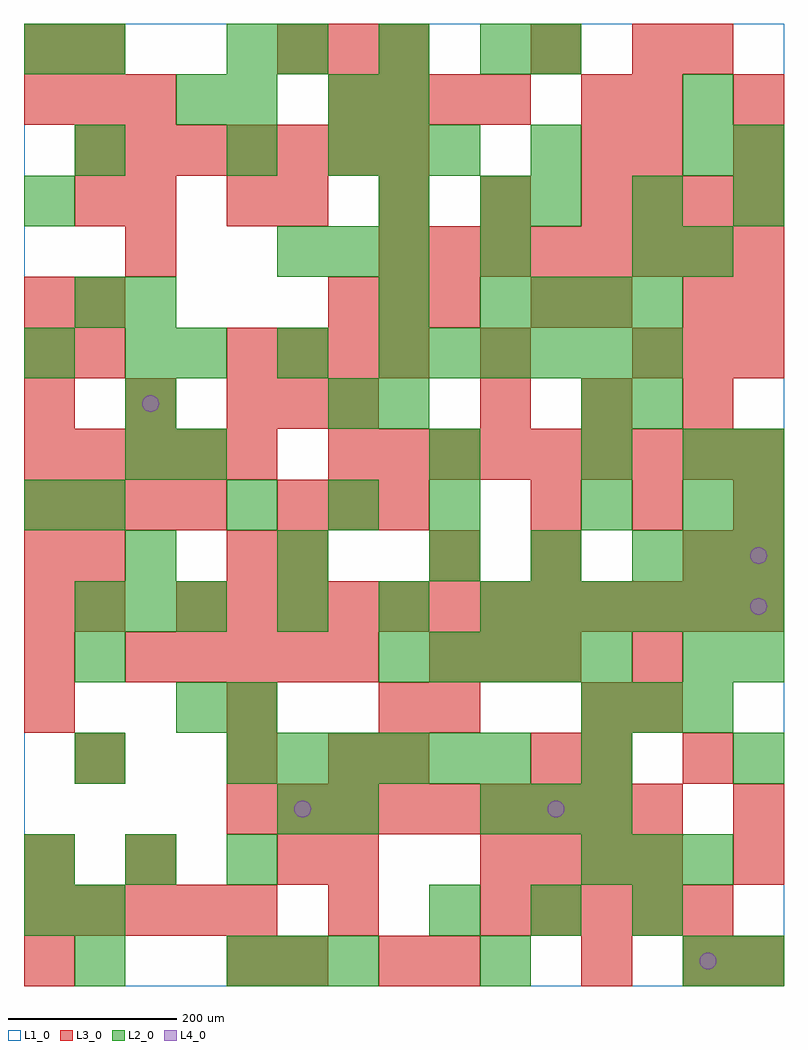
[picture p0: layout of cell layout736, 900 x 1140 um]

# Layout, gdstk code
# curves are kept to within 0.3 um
import gdstk
lib = gdstk.Library(unit=1e-6, precision=1e-09)
def R(c, l, rs):  # rectangles x0, y0, x1, y1
    for r in rs: c.add(gdstk.rectangle(r[:2], r[2:], *l))
def A(c, l, x, y, w, h, nx, ny, dx, dy):  # array of equal rectangles
    R(c, l, [(x+i*dx, y+j*dy, x+i*dx+w, y+j*dy+h) for i in range(nx) for j in range(ny)])
def P(c, l, *ps):  # polygons
    for p in ps: c.add(gdstk.Polygon(p, *l))
L1_0 = (1, 0)
L2_0 = (2, 0)
L3_0 = (3, 0)
L4_0 = (4, 0)

layout736 = lib.new_cell('layout736')
R(layout736, L1_0, [(0,0,900,1140)])
A(layout736, L2_0, 240, 0, 60, 60, 3, 1, 60, 0)
A(layout736, L2_0, 480, 60, 60, 60, 3, 1, 120, 0)
A(layout736, L2_0, 0, 120, 60, 60, 3, 1, 120, 0)
A(layout736, L2_0, 660, 120, 60, 60, 3, 2, 60, 180)
A(layout736, L2_0, 540, 180, 60, 60, 3, 1, 60, 0)
A(layout736, L2_0, 240, 240, 60, 60, 6, 1, 60, 0)
A(layout736, L2_0, 420, 360, 60, 60, 5, 1, 60, 0)
A(layout736, L2_0, 60, 420, 60, 60, 3, 1, 60, 0)
A(layout736, L2_0, 300, 420, 60, 60, 3, 2, 120, 660)
A(layout736, L2_0, 600, 420, 60, 60, 5, 1, 60, 0)
A(layout736, L2_0, 120, 480, 60, 60, 3, 1, 180, 0)
A(layout736, L2_0, 720, 480, 60, 60, 3, 1, 60, 0)
A(layout736, L2_0, 0, 540, 60, 60, 1, 4, 0, 180)
A(layout736, L2_0, 240, 540, 60, 60, 3, 1, 120, 0)
A(layout736, L2_0, 660, 540, 60, 60, 1, 3, 0, 60)
A(layout736, L2_0, 120, 600, 60, 60, 1, 4, 0, 60)
A(layout736, L2_0, 420, 660, 60, 60, 1, 4, 0, 120)
A(layout736, L2_0, 180, 720, 60, 60, 3, 1, 120, 0)
A(layout736, L2_0, 480, 720, 60, 60, 5, 1, 60, 0)
A(layout736, L2_0, 540, 780, 60, 60, 4, 1, 60, 0)
A(layout736, L2_0, 300, 840, 60, 60, 3, 1, 60, 0)
A(layout736, L2_0, 600, 900, 60, 60, 3, 1, 120, 0)
A(layout736, L2_0, 240, 960, 60, 60, 1, 3, 0, 60)
A(layout736, L2_0, 360, 960, 60, 60, 3, 1, 60, 0)
R(layout736, L2_0, [(60,0,120,60), (540,0,600,60), (780,0,840,60), (840,0,900,60), (0,60,60,120), (60,60,120,120), (300,180,360,240), (360,180,420,240), (60,240,120,300), (660,240,720,300), (840,240,900,300), (180,300,240,360), (240,300,300,360), (60,360,120,420), (780,360,840,420), (840,360,900,420), (600,480,660,540), (60,540,120,600), (780,540,840,600), (840,540,900,600), (180,600,240,660), (480,600,540,660), (780,600,840,660), (840,600,900,660), (360,660,420,720), (720,660,780,720), (60,780,120,840), (540,840,600,900), (720,840,780,900), (780,840,840,900), (540,900,600,960), (60,960,120,1020), (600,960,660,1020), (780,960,840,1020), (840,960,900,1020), (180,1020,240,1080), (360,1020,420,1080), (780,1020,840,1080), (60,1080,120,1140), (600,1080,660,1140)])
A(layout736, L3_0, 780, 0, 60, 60, 1, 3, 0, 240)
A(layout736, L3_0, 0, 60, 60, 60, 5, 2, 60, 540)
A(layout736, L3_0, 540, 60, 60, 60, 5, 1, 60, 0)
A(layout736, L3_0, 540, 120, 60, 60, 4, 1, 60, 0)
A(layout736, L3_0, 240, 180, 60, 60, 9, 1, 60, 0)
A(layout736, L3_0, 840, 180, 60, 60, 1, 3, 0, 300)
A(layout736, L3_0, 0, 300, 60, 60, 1, 4, 0, 60)
A(layout736, L3_0, 120, 360, 60, 60, 5, 1, 60, 0)
A(layout736, L3_0, 480, 360, 60, 60, 3, 1, 60, 0)
A(layout736, L3_0, 180, 420, 60, 60, 12, 1, 60, 0)
A(layout736, L3_0, 600, 480, 60, 60, 1, 3, 0, 300)
A(layout736, L3_0, 0, 540, 60, 60, 4, 1, 60, 0)
A(layout736, L3_0, 300, 540, 60, 60, 3, 2, 60, 540)
A(layout736, L3_0, 600, 540, 60, 60, 3, 1, 120, 0)
A(layout736, L3_0, 360, 600, 60, 60, 9, 1, 60, 0)
A(layout736, L3_0, 0, 660, 60, 60, 3, 1, 120, 0)
A(layout736, L3_0, 540, 660, 60, 60, 3, 1, 120, 0)
A(layout736, L3_0, 240, 720, 60, 60, 4, 1, 60, 0)
A(layout736, L3_0, 720, 720, 60, 60, 3, 2, 60, 180)
A(layout736, L3_0, 360, 780, 60, 60, 3, 1, 60, 0)
A(layout736, L3_0, 420, 840, 60, 60, 8, 1, 60, 0)
A(layout736, L3_0, 300, 900, 60, 60, 4, 1, 120, 0)
A(layout736, L3_0, 60, 960, 60, 60, 7, 1, 60, 0)
A(layout736, L3_0, 720, 960, 60, 60, 1, 3, 0, 60)
A(layout736, L3_0, 0, 1020, 60, 60, 3, 1, 60, 0)
A(layout736, L3_0, 360, 1020, 60, 60, 4, 1, 60, 0)
R(layout736, L3_0, [(0,0,60,60), (240,0,300,60), (300,0,360,60), (420,0,480,60), (480,0,540,60), (660,0,720,60), (840,0,900,60), (360,60,420,120), (0,120,60,180), (120,120,180,180), (300,120,360,180), (360,120,420,180), (840,120,900,180), (60,240,120,300), (240,240,300,300), (360,240,420,300), (420,240,480,300), (600,240,660,300), (660,240,720,300), (240,300,300,360), (420,300,480,360), (480,300,540,360), (660,300,720,360), (720,300,780,360), (720,360,780,420), (60,420,120,480), (60,480,120,540), (240,480,300,540), (300,480,360,540), (480,480,540,540), (300,660,360,720), (360,660,420,720), (0,720,60,780), (60,720,120,780), (540,720,600,780), (0,780,60,840), (60,780,120,840), (660,780,720,840), (780,780,840,840), (120,840,180,900), (60,900,120,960), (120,900,180,960), (240,900,300,960), (660,960,720,1020), (840,960,900,1020), (660,1020,720,1080), (840,1020,900,1080), (0,1080,60,1140), (60,1080,120,1140), (780,1080,840,1140)])
P(layout736, L4_0, [(160,690),(159.239,693.827),(157.071,697.071),(153.827,699.239),(150,700),(146.173,699.239),(142.929,697.071),(140.761,693.827),(140,690),(140.761,686.173),(142.929,682.929),(146.173,680.761),(150,680),(153.827,680.761),(157.071,682.929),(159.239,686.173)],
  [(340,210),(339.239,213.827),(337.071,217.071),(333.827,219.239),(330,220),(326.173,219.239),(322.929,217.071),(320.761,213.827),(320,210),(320.761,206.173),(322.929,202.929),(326.173,200.761),(330,200),(333.827,200.761),(337.071,202.929),(339.239,206.173)],
  [(640,210),(639.239,213.827),(637.071,217.071),(633.827,219.239),(630,220),(626.173,219.239),(622.929,217.071),(620.761,213.827),(620,210),(620.761,206.173),(622.929,202.929),(626.173,200.761),(630,200),(633.827,200.761),(637.071,202.929),(639.239,206.173)],
  [(820,30),(819.239,33.827),(817.071,37.071),(813.827,39.239),(810,40),(806.173,39.239),(802.929,37.071),(800.761,33.827),(800,30),(800.761,26.173),(802.929,22.929),(806.173,20.761),(810,20),(813.827,20.761),(817.071,22.929),(819.239,26.173)],
  [(880,450),(879.239,453.827),(877.071,457.071),(873.827,459.239),(870,460),(866.173,459.239),(862.929,457.071),(860.761,453.827),(860,450),(860.761,446.173),(862.929,442.929),(866.173,440.761),(870,440),(873.827,440.761),(877.071,442.929),(879.239,446.173)],
  [(880,510),(879.239,513.827),(877.071,517.071),(873.827,519.239),(870,520),(866.173,519.239),(862.929,517.071),(860.761,513.827),(860,510),(860.761,506.173),(862.929,502.929),(866.173,500.761),(870,500),(873.827,500.761),(877.071,502.929),(879.239,506.173)])

lib.write_gds('layout736.gds')
